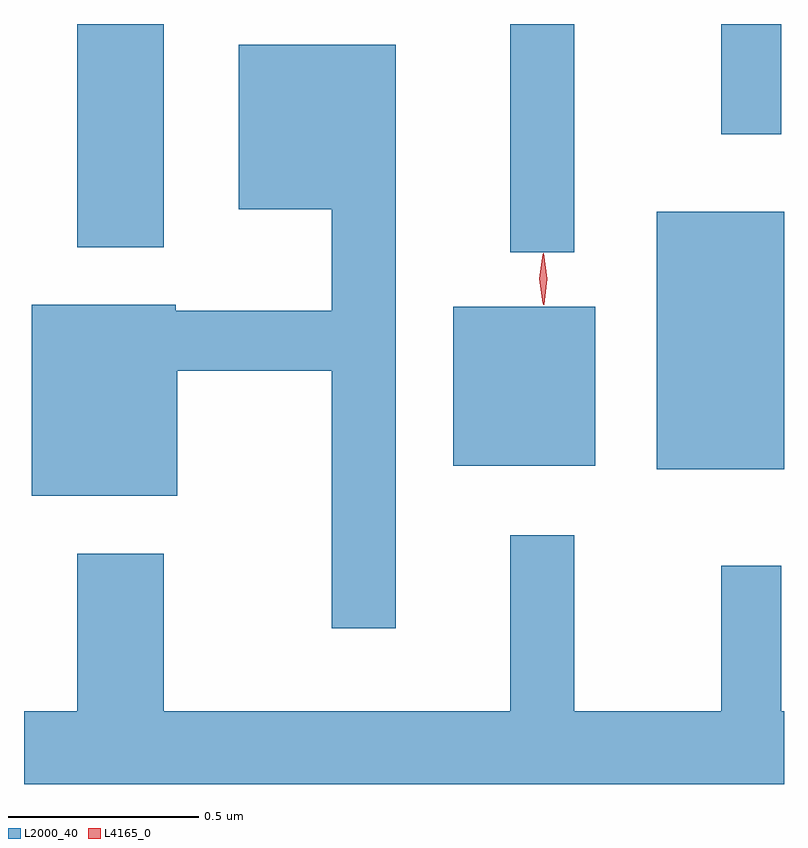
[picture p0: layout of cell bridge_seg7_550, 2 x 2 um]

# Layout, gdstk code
import gdstk
lib = gdstk.Library(unit=1e-6, precision=1e-09)
def R(c, l, rs):  # rectangles x0, y0, x1, y1
    for r in rs: c.add(gdstk.rectangle(r[:2], r[2:], *l))
def P(c, l, *ps):  # polygons
    for p in ps: c.add(gdstk.Polygon(p, *l))
L2000_40 = (2000, 40)
L4165_0 = (4165, 0)

bridge_seg7_550 = lib.new_cell('bridge_seg7_550')
R(bridge_seg7_550, L2000_40, [(892.756,1752.961,893.091,1753.639), (892.221,1752.971,892.594,1753.389), (892.371,1753.533,892.539,1754.133), (891.231,1753.546,891.459,1754.133), (892.926,1753.843,893.084,1754.133)])
P(bridge_seg7_550, L2000_40, [(892.069,1754.079),(891.656,1754.079),(891.656,1753.646),(891.901,1753.646),(891.901,1753.379),(891.49,1753.379),(891.49,1753.394),(891.111,1753.394),(891.111,1752.891),(891.494,1752.891),(891.494,1753.221),(891.901,1753.221),(891.901,1752.543),(892.069,1752.543)],
  [(893.091,1752.324),(893.084,1752.324),(893.084,1752.708),(892.926,1752.708),(892.926,1752.324),(892.539,1752.324),(892.539,1752.788),(892.371,1752.788),(892.371,1752.324),(891.459,1752.324),(891.459,1752.739),(891.231,1752.739),(891.231,1752.324),(891.091,1752.324),(891.091,1752.133),(893.091,1752.133)])
P(bridge_seg7_550, L4165_0, [(892.458,1753.394),(892.449,1753.462),(892.458,1753.53),(892.458,1753.53),(892.459,1753.53),(892.468,1753.462),(892.46,1753.394),(892.459,1753.394)],
  [(892.456,1753.398),(892.447,1753.462),(892.456,1753.527),(892.457,1753.527),(892.457,1753.527),(892.467,1753.462),(892.457,1753.398),(892.457,1753.398)])

lib.write_gds('bridge_seg7_550.gds')
